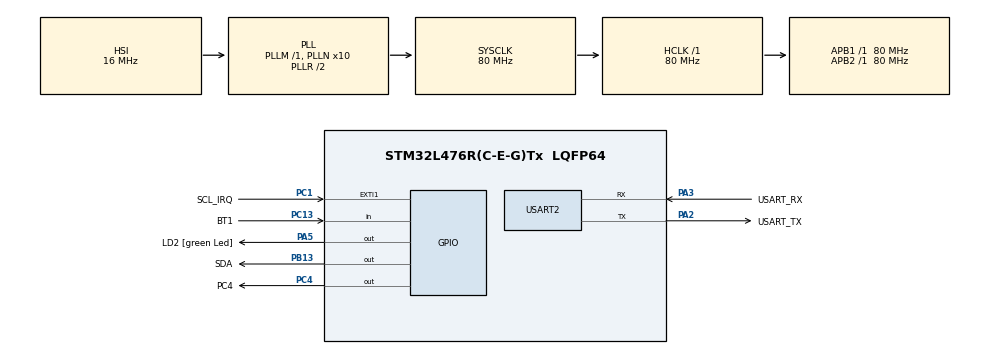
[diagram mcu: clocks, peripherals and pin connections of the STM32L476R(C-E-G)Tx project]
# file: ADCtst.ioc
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Mcu.Family=STM32L4
Mcu.Name=STM32L476R(C-E-G)Tx
Mcu.Package=LQFP64
NVIC.EXTI1_IRQn=true\:0\:0\:false\:false\:true\:true\:true\:true
NVIC.PriorityGroup=NVIC_PRIORITYGROUP_4
PA13\ (JTMS-SWDIO).GPIO_Label=TMS
PA13\ (JTMS-SWDIO).Mode=Serial_Wire
PA13\ (JTMS-SWDIO).Signal=SYS_JTMS-SWDIO
PA14\ (JTCK-SWCLK).GPIO_Label=TCK
PA14\ (JTCK-SWCLK).Mode=Serial_Wire
PA14\ (JTCK-SWCLK).Signal=SYS_JTCK-SWCLK
PA2.GPIO_Label=USART_TX
PA2.GPIO_Mode=GPIO_MODE_AF_PP
PA2.GPIO_PuPd=GPIO_NOPULL
PA2.GPIO_Speed=GPIO_SPEED_FREQ_VERY_HIGH
PA2.Mode=Asynchronous
PA2.Signal=USART2_TX
PA3.GPIO_Label=USART_RX
PA3.GPIO_Mode=GPIO_MODE_AF_PP
PA3.GPIO_PuPd=GPIO_NOPULL
PA3.GPIO_Speed=GPIO_SPEED_FREQ_VERY_HIGH
PA3.Mode=Asynchronous
PA3.Signal=USART2_RX
PA5.GPIO_Label=LD2 [green Led]
PA5.GPIO_ModeDefaultOutputPP=GPIO_MODE_OUTPUT_PP
PA5.GPIO_PuPd=GPIO_NOPULL
PA5.GPIO_Speed=GPIO_SPEED_FREQ_LOW
PA5.Signal=GPIO_Output
PB13.GPIO_Label=SDA
PB13.GPIO_ModeDefaultOutputPP=GPIO_MODE_OUTPUT_OD
PB13.GPIO_PuPd=GPIO_NOPULL
PB13.PinState=GPIO_PIN_RESET
PB13.Signal=GPIO_Output
PB3\ (JTDO-TRACESWO).GPIO_Label=SWO
PB3\ (JTDO-TRACESWO).Signal=SYS_JTDO-SWO
PC1.GPIO_Label=SCL_IRQ
PC1.GPIO_ModeDefaultEXTI=GPIO_MODE_IT_FALLING
PC1.GPIO_PuPd=GPIO_PULLUP
PC1.Signal=GPXTI1
PC13.GPIO_Label=BT1
PC13.GPIO_PuPd=GPIO_PULLUP
PC13.Signal=GPIO_Input
PC14-OSC32_IN\ (PC14).Mode=LSE-External-Oscillator
PC14-OSC32_IN\ (PC14).Signal=RCC_OSC32_IN
PC15-OSC32_OUT\ (PC15).Mode=LSE-External-Oscillator
PC15-OSC32_OUT\ (PC15).Signal=RCC_OSC32_OUT
PC4.GPIO_Label=PC4
PC4.GPIO_ModeDefaultOutputPP=GPIO_MODE_OUTPUT_OD
PC4.GPIO_PuPd=GPIO_NOPULL
PC4.PinState=GPIO_PIN_RESET
PC4.Signal=GPIO_Output
PH0-OSC_IN\ (PH0).Signal=RCC_OSC_IN
PH1-OSC_OUT\ (PH1).Signal=RCC_OSC_OUT
ProjectManager.HeapSize=0x200
ProjectManager.StackSize=0x400
ProjectManager.TargetToolchain=STM32CubeIDE
RCC.ADCFreq_Value=80000000
RCC.AHBFreq_Value=80000000
RCC.APB1Freq_Value=80000000
RCC.APB1TimFreq_Value=80000000
RCC.APB2Freq_Value=80000000
RCC.APB2TimFreq_Value=80000000
RCC.CortexFreq_Value=80000000
RCC.HCLKFreq_Value=80000000
RCC.HSE_VALUE=8000000
RCC.HSI_VALUE=16000000
RCC.MSI_VALUE=4000000
RCC.PLLN=10
RCC.PLLSAI1N=10
RCC.PLLSourceVirtual=RCC_PLLSOURCE_HSI
RCC.PREFETCH_ENABLE=1
RCC.SYSCLKFreq_VALUE=80000000
RCC.SYSCLKSource=RCC_SYSCLKSOURCE_PLLCLK
RCC.USBFreq_Value=80000000
RCC.VCOOutputFreq_Value=160000000
USART2.VirtualMode-Asynchronous=VM_ASYNC
board=NUCLEO-L476RG

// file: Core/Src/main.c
/* USER CODE BEGIN Header */
/**
  ******************************************************************************
  * @file           : main.c
  * @brief          : Main program body
  ******************************************************************************
  * @attention
  *
  * Copyright (c) 2023 STMicroelectronics.
  * All rights reserved.
  *
  * This software is licensed under terms that can be found in the LICENSE file
  * in the root directory of this software component.
  * If no LICENSE file comes with this software, it is provided AS-IS.
  *
  ******************************************************************************
  */
/* USER CODE END Header */
#include "main.h"
#include "usart.h"
#include "gpio.h"

void SystemClock_Config(void);

/* USER CODE BEGIN 0 */
int __io_putchar(int ch)
  {
    if (ch == '\n') {
      __io_putchar('\r');
    }

    HAL_UART_Transmit(&huart2, (uint8_t*)&ch, 1, HAL_MAX_DELAY);

    return 1;
  }

volatile uint32_t falling_edge_counter = 0;
volatile uint32_t lastIRQ = 0;
const GPIO_PinState sda_lookup_table [19] =
{
		GPIO_PIN_SET, //not used since first falling edge is no. 1

		GPIO_PIN_SET,	GPIO_PIN_RESET,	GPIO_PIN_SET,	GPIO_PIN_SET, // 7 bits for addr
		GPIO_PIN_SET,	GPIO_PIN_SET,	GPIO_PIN_SET,

		GPIO_PIN_SET,//read or write

		GPIO_PIN_RESET,//first ACK

		GPIO_PIN_SET,	GPIO_PIN_RESET,	GPIO_PIN_SET,	GPIO_PIN_RESET, //8 bits DATA
		GPIO_PIN_SET,	GPIO_PIN_RESET,	GPIO_PIN_SET,	GPIO_PIN_RESET,

		GPIO_PIN_SET //second ACK
};
void HAL_GPIO_EXTI_Callback(uint16_t GPIO_Pin)
{
  if (GPIO_Pin == SCL_IRQ_Pin) {

	  //HAL_GPIO_WritePin(PC4_GPIO_Port,PC4_Pin, GPIO_PIN_SET);
	  //HAL_GPIO_WritePin(SDA_GPIO_Port,SDA_Pin, GPIO_PIN_SET);
	  falling_edge_counter++;
	  lastIRQ= HAL_GetTick();

	  if(falling_edge_counter <= 18)
	  	  {
	  	  HAL_GPIO_WritePin(PC4_GPIO_Port,PC4_Pin, sda_lookup_table[falling_edge_counter]);
	  	  HAL_GPIO_WritePin(SDA_GPIO_Port,SDA_Pin, sda_lookup_table[falling_edge_counter]);
	  	  }
	  	  else
	  	  {
	  		 falling_edge_counter = 0;
	  		 HAL_GPIO_WritePin(PC4_GPIO_Port,PC4_Pin, GPIO_PIN_SET);
	  		 HAL_GPIO_WritePin(SDA_GPIO_Port,SDA_Pin, GPIO_PIN_SET);
	  	  }

  }
}
/* USER CODE END 0 */

int main(void)
{

  /* MCU Configuration--------------------------------------------------------*/

  /* Reset of all peripherals, Initializes the Flash interface and the Systick. */
  HAL_Init();

  /* Configure the system clock */
  SystemClock_Config();

  /* Initialize all configured peripherals */
  MX_GPIO_Init();
  MX_USART2_UART_Init();
  /* USER CODE BEGIN 2 */
  for(int i=0; i<6 ;i++)
  {
	  HAL_GPIO_TogglePin(LD2_GPIO_Port, LD2_Pin);
	  HAL_Delay(100);
  }

  /* USER CODE END 2 */

  /* Infinite loop */
  /* USER CODE BEGIN WHILE */
  while (1)
  {

	  if((HAL_GetTick() - lastIRQ ) >= 1)
	  {
		  falling_edge_counter = 0;
		  HAL_GPIO_WritePin(PC4_GPIO_Port,PC4_Pin, GPIO_PIN_SET);
		  HAL_GPIO_WritePin(SDA_GPIO_Port,SDA_Pin, GPIO_PIN_SET);
	  }

	 /* if(falling_edge_counter>=9)
	  {
		 HAL_GPIO_WritePin(PC4_GPIO_Port,PC4_Pin, GPIO_PIN_RESET);
		 HAL_GPIO_WritePin(SDA_GPIO_Port,SDA_Pin, GPIO_PIN_RESET);
		 falling_edge_counter = 0;
	  }
*/

	 // if (HAL_GPIO_ReadPin(BT1_GPIO_Port, BT1_Pin) == GPIO_PIN_RESET)

    /* USER CODE END WHILE */

  }
}

void SystemClock_Config(void)
{
  RCC_OscInitTypeDef RCC_OscInitStruct = {0};
  RCC_ClkInitTypeDef RCC_ClkInitStruct = {0};

  /** Configure the main internal regulator output voltage
  */
  if (HAL_PWREx_ControlVoltageScaling(PWR_REGULATOR_VOLTAGE_SCALE1) != HAL_OK)
  {
    Error_Handler();
  }

  /** Initializes the RCC Oscillators according to the specified parameters
  * in the RCC_OscInitTypeDef structure.
  */
  RCC_OscInitStruct.OscillatorType = RCC_OSCILLATORTYPE_HSI;
  RCC_OscInitStruct.HSIState = RCC_HSI_ON;
  RCC_OscInitStruct.HSICalibrationValue = RCC_HSICALIBRATION_DEFAULT;
  RCC_OscInitStruct.PLL.PLLState = RCC_PLL_ON;
  RCC_OscInitStruct.PLL.PLLSource = RCC_PLLSOURCE_HSI;
  RCC_OscInitStruct.PLL.PLLM = 1;
  RCC_OscInitStruct.PLL.PLLN = 10;
  RCC_OscInitStruct.PLL.PLLP = RCC_PLLP_DIV7;
  RCC_OscInitStruct.PLL.PLLQ = RCC_PLLQ_DIV2;
  RCC_OscInitStruct.PLL.PLLR = RCC_PLLR_DIV2;
  if (HAL_RCC_OscConfig(&RCC_OscInitStruct) != HAL_OK)
  {
    Error_Handler();
  }

  /** Initializes the CPU, AHB and APB buses clocks
  */
  RCC_ClkInitStruct.ClockType = RCC_CLOCKTYPE_HCLK|RCC_CLOCKTYPE_SYSCLK
                              |RCC_CLOCKTYPE_PCLK1|RCC_CLOCKTYPE_PCLK2;
  RCC_ClkInitStruct.SYSCLKSource = RCC_SYSCLKSOURCE_PLLCLK;
  RCC_ClkInitStruct.AHBCLKDivider = RCC_SYSCLK_DIV1;
  RCC_ClkInitStruct.APB1CLKDivider = RCC_HCLK_DIV1;
  RCC_ClkInitStruct.APB2CLKDivider = RCC_HCLK_DIV1;

  if (HAL_RCC_ClockConfig(&RCC_ClkInitStruct, FLASH_LATENCY_4) != HAL_OK)
  {
    Error_Handler();
  }
}

void Error_Handler(void)
{
  __disable_irq();
  while (1)
  {
  }
}
